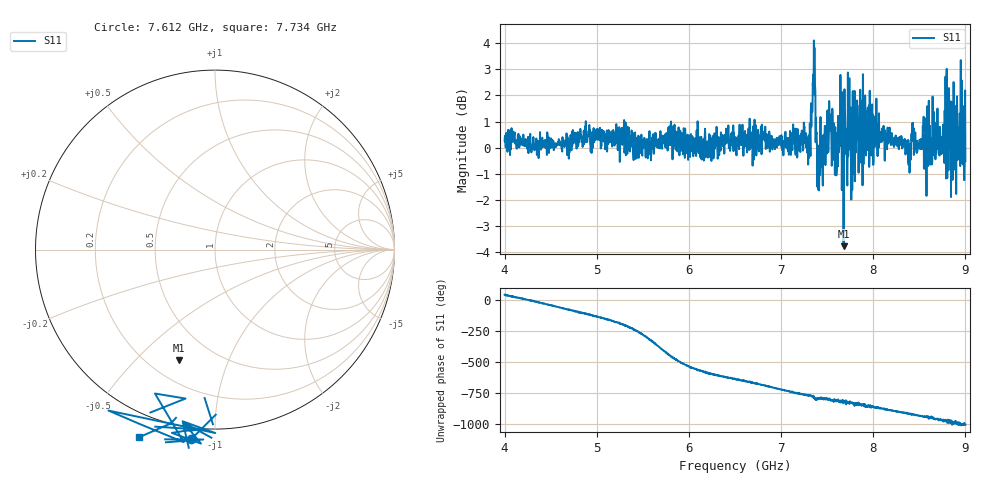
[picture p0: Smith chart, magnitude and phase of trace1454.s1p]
! Created with skrf 1.8.0 (http://scikit-rf.org).
# Hz S RI R 50.0
!freq ReS11 ImS11
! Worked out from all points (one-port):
!   1601 points, 4 GHz to 9 GHz, reference 50 ohm
!   lowest |S11| = -3.8 dB at 7.678 GHz (marker M1), VSWR 4.67, Z = 15.9 - j33.7 ohm
!   |S11| at or under -10 dB: nowhere
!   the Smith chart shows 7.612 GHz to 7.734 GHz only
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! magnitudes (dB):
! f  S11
! 4 GHz  0.3
! 4.625 GHz  -0.2
! 5.25 GHz  -0.5
! 5.875 GHz  -0.1
! 6.5 GHz  -0.1
! 7.125 GHz  0.3
! 7.294 GHz  -0.7
! 7.347 GHz  2.3
! 7.366 GHz  2.0
! 7.397 GHz  -0.8
! 7.412 GHz  -1.6
! 7.512 GHz  -0.2
! 7.591 GHz  0.2
! 7.65 GHz  0.5
! 7.678 GHz  -3.8
! 7.75 GHz  0.2
! 7.784 GHz  0.3
! 7.834 GHz  0.8
! 7.897 GHz  0.1
! 7.928 GHz  1.4
! 7.981 GHz  -0.3
! 8.375 GHz  0.0
! 8.438 GHz  0.7
! 8.728 GHz  0.0
! 8.809 GHz  1.5
! 8.875 GHz  0.8
! 8.959 GHz  2.6
! 9 GHz  -0.5
